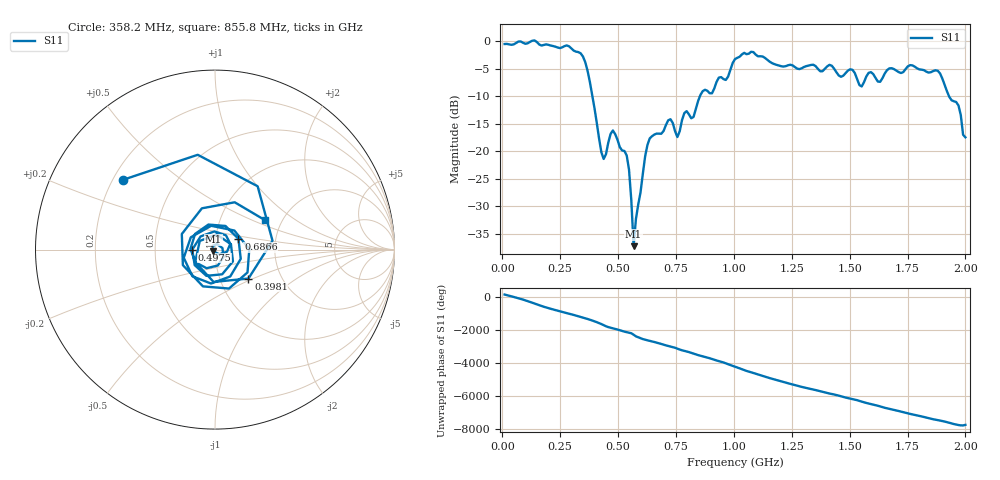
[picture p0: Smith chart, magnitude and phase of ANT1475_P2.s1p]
!Created with skrf (http://scikit-rf.org).
# Hz S RI R 50.0
!freq ReS11 ImS11
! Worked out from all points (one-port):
!   201 points, 10 MHz to 2 GHz, reference 50 ohm
!   lowest |S11| = -37.3 dB at 567.2 MHz (marker M1), VSWR 1.03, Z = 49 - j0.943 ohm
!   |S11| at or under -10 dB: 389 MHz to 853.9 MHz (464.9 MHz wide, 74.8 % of centre); 1.929 GHz to end of sweep
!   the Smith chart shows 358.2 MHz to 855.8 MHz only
!   S11 on the Smith chart (normalised r, x): 358.2 MHz: 0.24, +0.32; 398.1 MHz: 1.37, -0.47; 497.6 MHz: 0.78, -0.00; 686.6 MHz: 1.29, +0.16; 855.8 MHz: 1.64, +0.60
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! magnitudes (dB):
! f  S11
! 10 MHz  -0.6
! 258.8 MHz  -1.2
! 358.2 MHz  -3.8
! 398.1 MHz  -12.2
! 437.9 MHz  -21.4
! 477.6 MHz  -16.3
! 497.6 MHz  -17.9
! 507.5 MHz  -19.3
! 547.3 MHz  -23.4
! 567.2 MHz  -37.3
! 626.9 MHz  -18.9
! 686.6 MHz  -16.8
! 726.4 MHz  -14.2
! 756.2 MHz  -17.4
! 786.1 MHz  -13.1
! 825.9 MHz  -13.8
! 855.8 MHz  -9.8
! 965.2 MHz  -7.1
! 1.005 GHz  -3.3
! 1.254 GHz  -4.4
! 1.502 GHz  -5.1
! 1.552 GHz  -8.3
! 1.582 GHz  -5.8
! 1.632 GHz  -7.4
! 1.751 GHz  -4.6
! 1.891 GHz  -5.9
! 1.97 GHz  -11.7
! 2 GHz  -17.5
